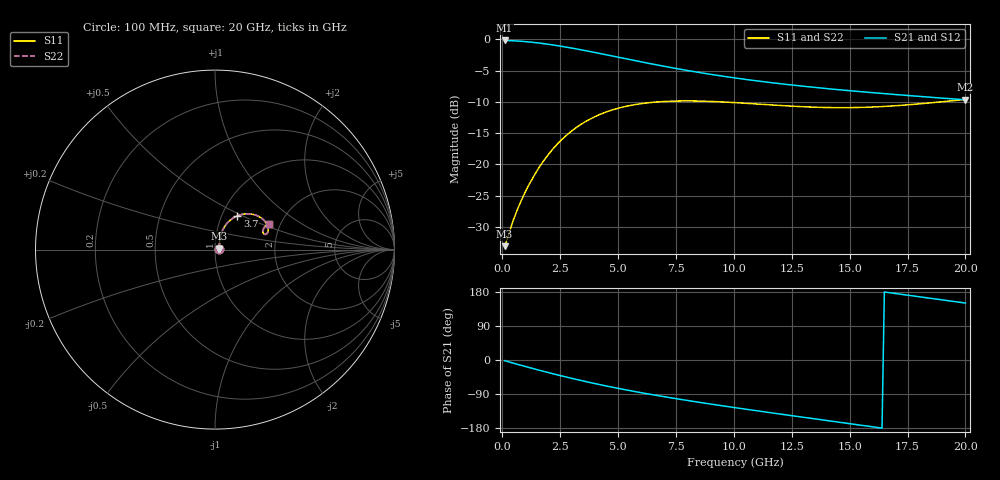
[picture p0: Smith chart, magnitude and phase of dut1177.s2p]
! Touchstone file exported from HFSS 2024.1.0
!  File:  C:/UserFiles/LocalFiles/RDL_TSV_Batchsim/temp_RDL_TSV_1177_1780124672.aedt
!  Generated:  03:21:48 PM May 30, 2026
!  Design:  RDL_TSV
!  Project:  temp_RDL_TSV_1177_1780124672
!  Setup:  Setup1
!  Solution:  Sweep
! Variables:
!  dtsv = 5.68um
!  hbump = 3um
!  htsv = 93.93um
!  ldown = 416.23um
!  lrdl = 393.94um
!  p = 40
!  p1 = 53.47um
!  rhole = 10um
!  subl = 2824.45um
!  t = 450um
!  tdown = 2.17um
!  trdl = 3.64um
!  viad = 10um
!  wdown = 15.64um
!  wrdl = 23.79um
!  xbump = 18um
# GHz S MA R 50.000000
! Terminal data exported
! Port[1] = TM1_1_T1
! Port[2] = TM1_4_T1
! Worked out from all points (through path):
!   200 points, 100 MHz to 20 GHz, reference 50 ohm
!   highest |S21| = -0.19 dB at 100 MHz (marker M1); lowest = -9.7 dB at 20 GHz (marker M2)
!   group delay of S21, straight-line fit = 27.4 ps
!   lowest |S11| = -33.1 dB at 100 MHz (marker M3), VSWR 1.05, Z = 52.2 + j0.622 ohm
!   |S11| at or under -10 dB: start of sweep to 6.774 GHz; 9.404 GHz to 18.97 GHz (9.566 GHz wide, 67.4 % of centre)
!   |S22| runs from -33.1 to -9.6 dB; largest |S21 - S12| = 1.3e-14
!   S11 on the Smith chart (normalised r, x): 100 MHz: 1.04, +0.01; 3.7 GHz: 1.18, +0.47; 20 GHz: 1.74, +0.55
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0.1  0.02217 15.6  0.9785 -1.8  0.9785 -1.8  0.02217 15.6
! Gamma 0 0 0 0
! Port Impedance 50 0 50 0
0.5  0.03672 49.0  0.9721 -8.7  0.9721 -8.7  0.0367 49.0
0.8  0.05042 59.0  0.9644 -13.8  0.9644 -13.8  0.05041 59.0
1.2  0.07134 65.9  0.9504 -20.5  0.9504 -20.5  0.07135 65.9
1.6  0.09506 68.5  0.9326 -27.1  0.9326 -27.1  0.09506 68.5
2  0.1206 68.4  0.9116 -33.4  0.9116 -33.4  0.1206 68.4
2.5  0.1533 66.2  0.8822 -41.1  0.8822 -41.1  0.1533 66.2
3  0.1851 62.6  0.8504 -48.5  0.8504 -48.5  0.1851 62.6
3.5  0.2145 58.3  0.8174 -55.5  0.8174 -55.5  0.2145 58.4
3.7  0.2253 56.5  0.8041 -58.2  0.8041 -58.2  0.2254 56.6
4.3  0.2543 51.1  0.7643 -66.1  0.7643 -66.1  0.2543 51.2
5  0.2807 45.0  0.7192 -74.8  0.7192 -74.8  0.2809 45.1
5.9  0.3038 37.9  0.6654 -85.2  0.6654 -85.2  0.304 38.0
6.8  0.3165 31.9  0.6174 -94.9  0.6174 -94.9  0.3167 31.9
8.3  0.3211 24.2  0.5504 -109.8  0.5504 -109.8  0.3215 24.2
10.1  0.3112 18.6  0.4891 -126.2  0.4891 -126.2  0.3117 18.7
11.7  0.2979 16.8  0.4479 -140.1  0.4479 -140.1  0.2985 16.8
13.4  0.2868 17.5  0.4138 -154.5  0.4138 -154.5  0.2874 17.6
15  0.2841 19.9  0.388 -168.0  0.388 -168.0  0.2848 19.9
16.7  0.2918 22.9  0.3649 177.7  0.3649 177.7  0.2925 22.9
18.3  0.3078 24.9  0.346 164.4  0.346 164.4  0.3085 24.8
20  0.3302 25.5  0.328 150.3  0.328 150.3  0.3309 25.4
